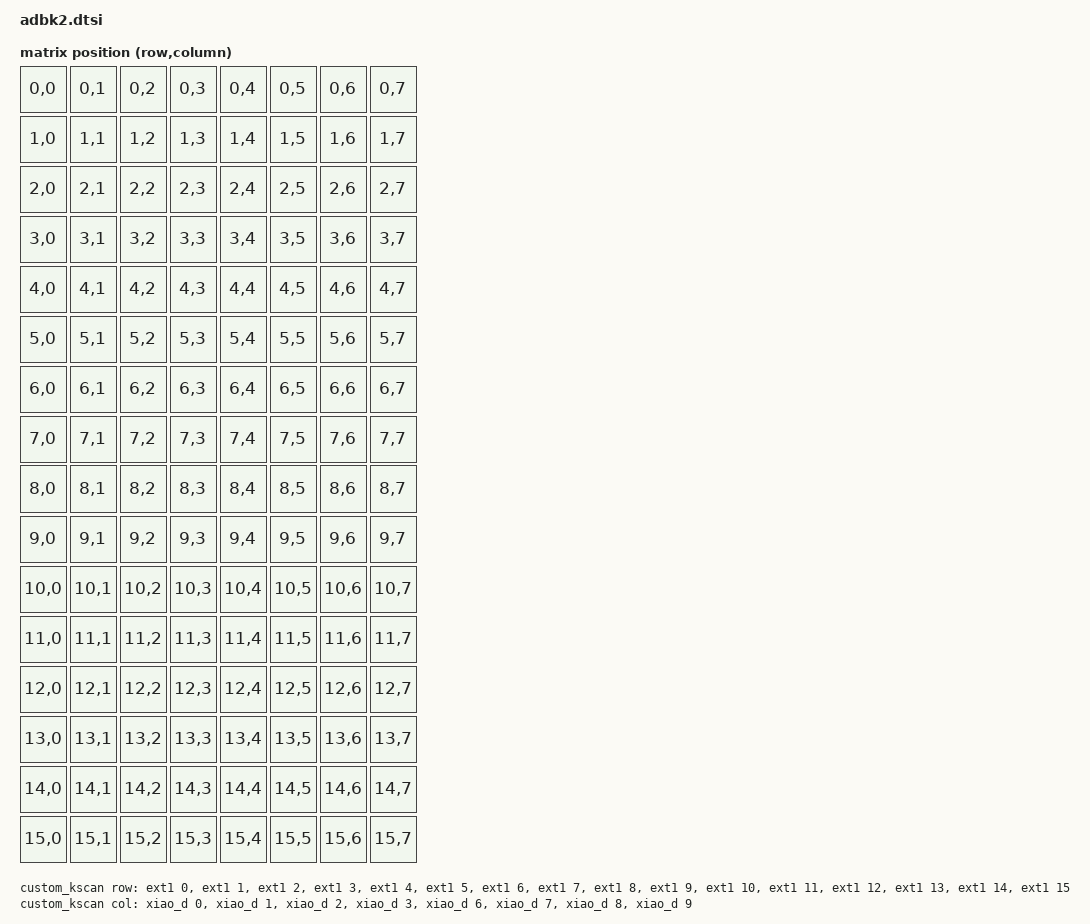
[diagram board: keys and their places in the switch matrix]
#include <dt-bindings/zmk/matrix_transform.h>

/ {
    chosen {
        zmk,kscan = &custom_kscan;
    };

    custom_kscan: kscan_matrix {
        compatible = "zmk,kscan-gpio-matrix";
        diode-direction = "row2col";
        wakeup-source;
        /* Rows = MCP23017 pins (0–15 → GPA0..GPA7, GPB0..GPB7) */
        row-gpios = <&ext1 0 (GPIO_ACTIVE_LOW | GPIO_PULL_UP)>,
                    <&ext1 1 (GPIO_ACTIVE_LOW | GPIO_PULL_UP)>,
                    <&ext1 2 (GPIO_ACTIVE_LOW | GPIO_PULL_UP)>,
                    <&ext1 3 (GPIO_ACTIVE_LOW | GPIO_PULL_UP)>,
                    <&ext1 4 (GPIO_ACTIVE_LOW | GPIO_PULL_UP)>,
                    <&ext1 5 (GPIO_ACTIVE_LOW | GPIO_PULL_UP)>,
                    <&ext1 6 (GPIO_ACTIVE_LOW | GPIO_PULL_UP)>,
                    <&ext1 7 (GPIO_ACTIVE_LOW | GPIO_PULL_UP)>,
                    <&ext1 8 (GPIO_ACTIVE_LOW | GPIO_PULL_UP)>,
                    <&ext1 9 (GPIO_ACTIVE_LOW | GPIO_PULL_UP)>,
                    <&ext1 10 (GPIO_ACTIVE_LOW | GPIO_PULL_UP)>,
                    <&ext1 11 (GPIO_ACTIVE_LOW | GPIO_PULL_UP)>,
                    <&ext1 12 (GPIO_ACTIVE_LOW | GPIO_PULL_UP)>,
                    <&ext1 13 (GPIO_ACTIVE_LOW | GPIO_PULL_UP)>,
                    <&ext1 14 (GPIO_ACTIVE_LOW | GPIO_PULL_UP)>,
                    <&ext1 15 (GPIO_ACTIVE_LOW | GPIO_PULL_UP)>;


        /* Cols = GPIOs from the XIAO (replace PINx with actual pins used) */
        col-gpios = <&xiao_d 0 GPIO_ACTIVE_LOW>,
                    <&xiao_d 1 GPIO_ACTIVE_LOW>,
                    <&xiao_d 2 GPIO_ACTIVE_LOW>,
                    <&xiao_d 3 GPIO_ACTIVE_LOW>,
                    <&xiao_d 6 GPIO_ACTIVE_LOW>,
                    <&xiao_d 7 GPIO_ACTIVE_LOW>,
                    <&xiao_d 8 GPIO_ACTIVE_LOW>,
                    <&xiao_d 9 GPIO_ACTIVE_LOW>;

    };

    default_transform: matrix_transform {
        compatible = "zmk,matrix-transform";
        rows = <16>;
        columns = <8>;
        map = <
            RC(0,0) RC(0,1) RC(0,2) RC(0,3) RC(0,4) RC(0,5) RC(0,6) RC(0,7)
            RC(1,0) RC(1,1) RC(1,2) RC(1,3) RC(1,4) RC(1,5) RC(1,6) RC(1,7)
            RC(2,0) RC(2,1) RC(2,2) RC(2,3) RC(2,4) RC(2,5) RC(2,6) RC(2,7)
            RC(3,0) RC(3,1) RC(3,2) RC(3,3) RC(3,4) RC(3,5) RC(3,6) RC(3,7)
            RC(4,0) RC(4,1) RC(4,2) RC(4,3) RC(4,4) RC(4,5) RC(4,6) RC(4,7)
            RC(5,0) RC(5,1) RC(5,2) RC(5,3) RC(5,4) RC(5,5) RC(5,6) RC(5,7)
            RC(6,0) RC(6,1) RC(6,2) RC(6,3) RC(6,4) RC(6,5) RC(6,6) RC(6,7)
            RC(7,0) RC(7,1) RC(7,2) RC(7,3) RC(7,4) RC(7,5) RC(7,6) RC(7,7)
            RC(8,0) RC(8,1) RC(8,2) RC(8,3) RC(8,4) RC(8,5) RC(8,6) RC(8,7)
            RC(9,0) RC(9,1) RC(9,2) RC(9,3) RC(9,4) RC(9,5) RC(9,6) RC(9,7)
            RC(10,0) RC(10,1) RC(10,2) RC(10,3) RC(10,4) RC(10,5) RC(10,6) RC(10,7)
            RC(11,0) RC(11,1) RC(11,2) RC(11,3) RC(11,4) RC(11,5) RC(11,6) RC(11,7)
            RC(12,0) RC(12,1) RC(12,2) RC(12,3) RC(12,4) RC(12,5) RC(12,6) RC(12,7)
            RC(13,0) RC(13,1) RC(13,2) RC(13,3) RC(13,4) RC(13,5) RC(13,6) RC(13,7)
            RC(14,0) RC(14,1) RC(14,2) RC(14,3) RC(14,4) RC(14,5) RC(14,6) RC(14,7)
            RC(15,0) RC(15,1) RC(15,2) RC(15,3) RC(15,4) RC(15,5) RC(15,6) RC(15,7)
        >;
    };
};
